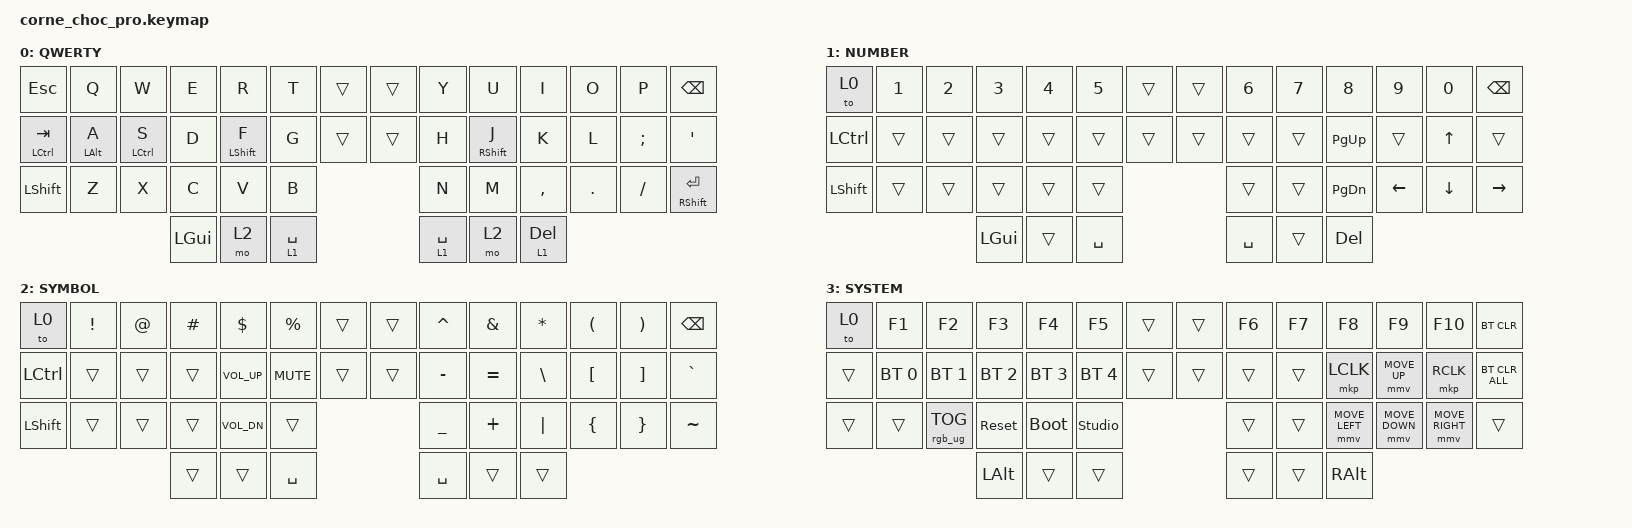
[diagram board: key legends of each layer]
/*
 * Copyright (c) 2020 The ZMK Contributors
 *
 * SPDX-License-Identifier: MIT
 */

#include <behaviors.dtsi>
#include <dt-bindings/zmk/bt.h>
#include <dt-bindings/zmk/keys.h>
#include <dt-bindings/zmk/pointing.h>
#include <dt-bindings/zmk/rgb.h>

&mt {
    tapping-term-ms = <230>;
    quick-tap-ms = <200>;
    require-prior-idle-ms = <150>;
    flavor = "balanced";
};

/ {
    chosen { zmk,physical-layout = &default_layout; };
};

/ {
    combos {
        compatible = "zmk,combos";

        Backspace {
            bindings = <&kp BACKSPACE>;
            key-positions = <19 22>;
            layers = <0 2 1>;
        };

        Enter {
            bindings = <&kp ENTER>;
            key-positions = <23 24 25>;
            layers = <0 1 2>;
        };

        QuestionMark {
            bindings = <&kp QUESTION>;
            key-positions = <33 34>;
            layers = <0>;
        };

        ExclamationMark {
            bindings = <&kp EXCLAMATION>;
            key-positions = <5 8>;
            layers = <0>;
        };

        MoLayer3 {
            bindings = <&mo 3>;
            key-positions = <40 41>;
            layers = <0>;
        };

        Lock {
            bindings = <&kp LG(L)>;
            key-positions = <0 13>;
            layers = <0 2 1>;
        };
    };

    keymap {
        compatible = "zmk,keymap";

        default_layer {
            display-name = "QWERTY";

            // --------------------------------------------------------------------------------
            // |  TAB |  Q  |  W  |  E  |  R  |  T  |  MUTE |  PP   |  Y  |  U   |  I  |  O  |  P  | BSPC |
            // | CTRL |  A  |  S  |  D  |  F  |  G  |  LALT |  RALT |  H  |  J   |  K  |  L  |  ;  |  '   |
            // | SHFT |  Z  |  X  |  C  |  V  |  B  |               |  N  |  M   |  ,  |  .  |  /  | ESC  |
            //                    | GUI | LWR | SPC |               | ENT | RSE  | ALT |

            bindings = <
&kp ESCAPE     &kp Q           &kp W               &kp E     &kp R             &kp T        &trans  &trans  &kp Y        &kp U              &kp I         &kp O    &kp P     &kp BSPC
&mt LCTRL TAB  &mt LEFT_ALT A  &mt LEFT_CONTROL S  &kp D     &mt LEFT_SHIFT F  &kp G        &trans  &trans  &kp H        &mt RIGHT_SHIFT J  &kp K         &kp L    &kp SEMI  &kp SQT
&kp LSHFT      &kp Z           &kp X               &kp C     &kp V             &kp B                        &kp N        &kp M              &kp COMMA     &kp DOT  &kp FSLH  &mt RIGHT_SHIFT ENTER
                                                   &kp LGUI  &mo 2             &lt 1 SPACE                  &lt 1 SPACE  &mo 2              &lt 1 DELETE
            >;
        };

        lower_layer {
            display-name = "NUMBER";

            // -----------------------------------------------------------------------------------------
            // |  TAB |  1  |  2  |  3  |  4  |  5    |  LCTRL | RCTRL |  6  |  7  |  8  |  9  |  0  | BSPC |
            // | CTRL | BT1 | BT2 | BT3 | BT4 | BT5   |  LALT  | RALT  | LFT | DWN |  UP | RGT |     |      |
            // | SHFT | BTCR| RGB | RST | BOOT| Unlock|        |       |     |     |     |     |     |      |
            //                    | GUI |     | SPC   |        | ENT   |     | ALT |

            bindings = <
&to 0      &kp N1  &kp N2  &kp N3    &kp N4  &kp N5     &trans  &trans  &kp N6     &kp N7  &kp N8         &kp N9          &kp N0          &kp BACKSPACE
&kp LCTRL  &trans  &trans  &trans    &trans  &trans     &trans  &trans  &trans     &trans  &kp PAGE_UP    &trans          &kp UP_ARROW    &trans
&kp LSHFT  &trans  &trans  &trans    &trans  &trans                     &trans     &trans  &kp PAGE_DOWN  &kp LEFT_ARROW  &kp DOWN_ARROW  &kp RIGHT
                           &kp LGUI  &trans  &kp SPACE                  &kp SPACE  &trans  &kp DELETE
            >;
        };

        raise_layer {
            display-name = "SYMBOL";

            // -----------------------------------------------------------------------------------------
            // |  TAB |  !  |  @  |  #  |  $  |  %  | LCTRL | RCTRL |  ^  |  &  |  *  |  (  |  )  | BSPC |
            // | CTRL |     |     |     |     |     |  LALT | RALT  |  -  |  =  |  [  |  ]  |  \  |  `   |
            // | SHFT |     |     |     |     |     |               |  _  |  +  |  {  |  }  | "|" |  ~   |
            //                    | GUI |     | SPC |               | ENT |     | ALT |

            bindings = <
&to 0      &kp EXCL  &kp AT  &kp HASH  &kp DLLR         &kp PRCNT   &trans  &trans  &kp CARET  &kp AMPS   &kp ASTRK      &kp LPAR          &kp RPAR           &kp BSPC
&kp LCTRL  &trans    &trans  &trans    &kp C_VOLUME_UP  &kp C_MUTE  &trans  &trans  &kp MINUS  &kp EQUAL  &kp BACKSLASH  &kp LEFT_BRACKET  &kp RIGHT_BRACKET  &kp GRAVE
&kp LSHFT  &trans    &trans  &trans    &kp C_VOL_DN     &trans                      &kp UNDER  &kp PLUS   &kp PIPE       &kp LEFT_BRACE    &kp RIGHT_BRACE    &kp TILDE
                             &trans    &trans           &kp SPACE                   &kp SPACE  &trans     &trans
            >;
        };

        system {
            display-name = "SYSTEM";
            bindings = <
&to 0   &kp F1        &kp F2           &kp F3        &kp F4        &kp F5          &trans  &trans  &kp F6  &kp F7  &kp F8          &kp F9          &kp F10          &bt BT_CLR
&trans  &bt BT_SEL 0  &bt BT_SEL 1     &bt BT_SEL 2  &bt BT_SEL 3  &bt BT_SEL 4    &trans  &trans  &trans  &trans  &mkp LCLK       &mmv MOVE_UP    &mkp RCLK        &bt BT_CLR_ALL
&trans  &trans        &rgb_ug RGB_TOG  &sys_reset    &bootloader   &studio_unlock                  &trans  &trans  &mmv MOVE_LEFT  &mmv MOVE_DOWN  &mmv MOVE_RIGHT  &trans
                                       &kp LEFT_ALT  &trans        &trans                          &trans  &trans  &kp RIGHT_ALT
            >;

            label = "SYSTEM";
        };
    };
};
